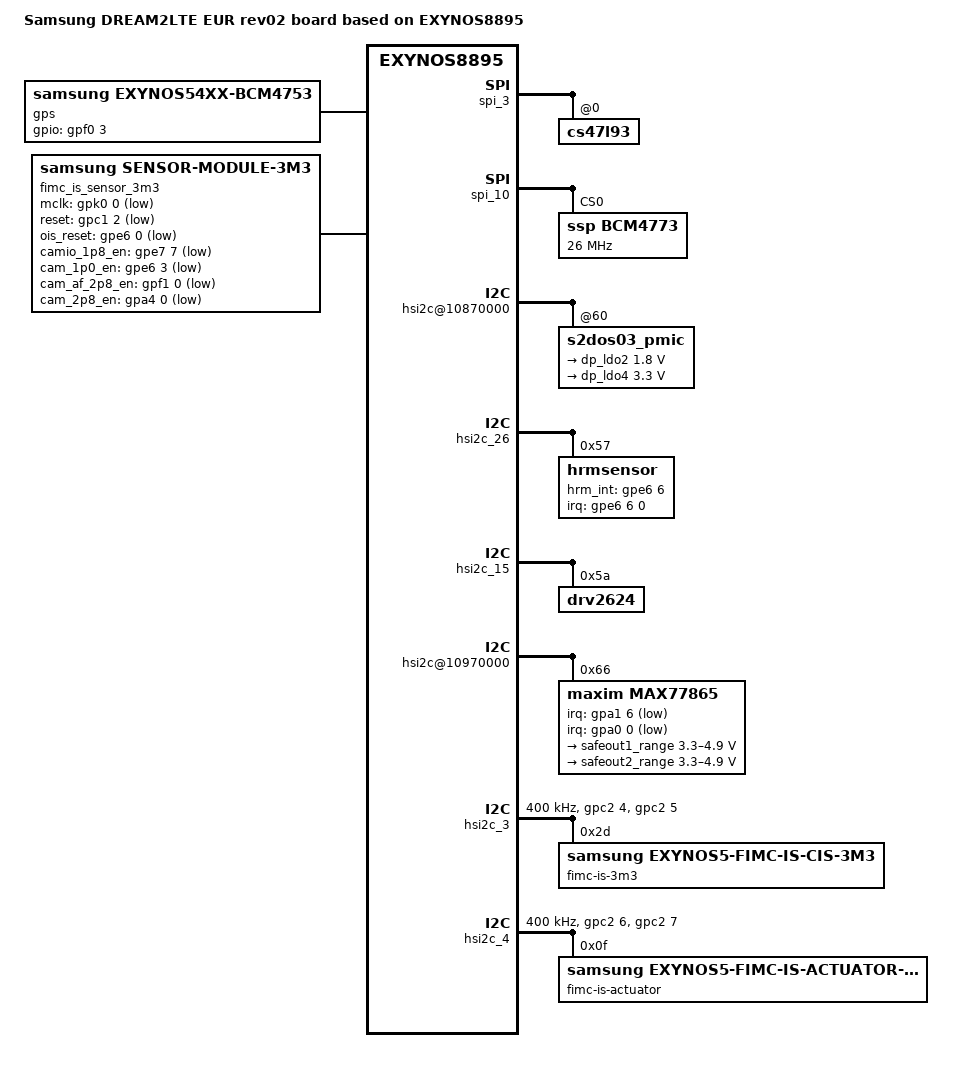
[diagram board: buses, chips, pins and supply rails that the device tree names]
/*
 * SAMSUNG EXYNOS8895 board device tree source
 *
 * Copyright (c) 2016 Samsung Electronics Co., Ltd.
 *		http://www.samsung.com
 *
 * This program is free software; you can redistribute it and/or modify
 * it under the terms of the GNU General Public License version 2 as
 * published by the Free Software Foundation.
*/

/dts-v1/;
#include "exynos8895-dream2lte_common.dtsi"
#include "battery_data_dream2lte_common.dtsi"
#include "exynos8895-dream2lte_motor_drv2624.dtsi"
#include "exynos8895-dream2lte_svcled.dtsi"
#include "ccic-s2mm005_00.dtsi"
#include "exynos8895-dreamlte_mst_00.dtsi"
#include "exynos8895-dream2lte_gpio_02.dtsi"

/ {
	model = "Samsung DREAM2LTE EUR rev02 board based on EXYNOS8895";
	model_info-chip = <8895>;
	model_info-platform = "android";
	model_info-subtype = "samsung";
	model_info-hw_rev = <5>;
	model_info-hw_rev_end = <5>;
	compatible = "samsung, DREAM2LTE EUR rev02", "samsung,EXYNOS8895";

	spi_3: spi@10460000 {
		status = "okay";
		cs47l93: cs47l93@0 {
			cirrus,dmic-ref = <1 2>;
			cirrus,inmode = <
				2 0 2 0 /* IN1 */
				2 2 0 0 /* IN2 */
			>;

			cirrus,gpio-defaults = <
				0xffffffff 0xffffffff /* GPIO1 */
				0xffffffff 0xffffffff /* GPIO2 */
				0x00002001 0x00009000 /* SPKCLK1 /   GPIO3 */
				0x00002001 0x00009000 /* SPKDAT /    GPIO4 */
				0x00002000 0x00006000 /* AIF1TXDAT / GPIO5 */
				0x00002000 0x00006000 /* AIF1BCLK /  GPIO6 */
				0x00002000 0x00006000 /* AIF1RXDAT / GPIO7 */
				0x00002000 0x00006000 /* AIF1LRCLK / GPIO8 */
				0x00002001 0x00009000 /* AIF2TXDAT / GPIO9 */
				0x00002001 0x00009000 /* AIF2BCLK /  GPIO10 */
				0x00002001 0x00009000 /* AIF2RXDAT / GPIO11 */
				0x00002000 0x00006000 /* AIF2LRCLK / GPIO12 */
				0x00002000 0x00006000 /* AIF3TXDAT / GPIO13 */
				0x00002000 0x00006000 /* AIF3BCLK /  GPIO14 */
				0x00002000 0x00006000 /* AIF3RXDAT / GPIO15 */
				0x00002000 0x00006000 /* AIF3LRCLK / GPIO16 */
			>;

			cirrus,accdet {
				acc@1 {
					cirrus,hpdet-ext-res = <3300>;
				};
			};
		};
	};
	
	spi_10: spi@108C0000{
		#address-cells = <1>;
		#size-cells = <0>;
	
		pinctrl-names = "default";
		pinctrl-0 = <&spi1_mosi_sck_ssn &spi1_miso>;

		num-cs = <1>;
		status = "okay";
/*
		dma-mode;
		dmas = <&pdma0 21 0
			&pdma0 20 0>;
*/
		BCM4773@0 {
			compatible = "ssp,BCM4773";
			reg = <0>;
			spi-max-frequency = <26000000>;
			spi-cpol;
			spi-cpha;
			pinctrl-names = "default";
			pinctrl-0 = <&ssp_host_req &ssp_mcu_req &ssp_mcu_resp &ssp_batch_wake_irq>;
		
			gpio-controller;
			#gpio-cells = <2>;
			ssp-host-req = <&gpa3 4 0x00>;
			ssp-mcu-req = <&gpe6 1 0x00>;
			ssp-mcu-resp = <&gpi1 5 0x00>;
			ssp-batch-wake-irq = <&gpa2 5 0x00>;
			ssp-acc-position = <5>;
			ssp-mag-position = <1>;
			ssp-sns-combination = <0>;
			ssp-ap-rev = <1>;
			ssp-mag-array = /bits/ 8 <253 90 57 192 88 65 2 134 202 56 62 202 185 40 254 156 2 108 98 193 184 4 28 181 12 82 172>;
			ssp-glass-type = <0>;
			ssp-mag-type = <1>;

			controller-data {
				cs-gpio = <&gpe2 6 0>;
				samsung,spi-feedback-delay = <0>;
			};
		};
	};

	sound {
		status = "okay";
		spkpdm-gpio;

		samsung,routing = "HEADSETMIC", "MICBIAS2A",
				 "IN1BL", "HEADSETMIC",
				 "DMIC1", "MICBIAS1A",
				 "IN1AL", "DMIC1",
				 "DMIC2", "MICBIAS1B",
				 "IN2AL", "DMIC2",
				 "VTS PAD DPDM", "DMIC1",
				 "RECEIVER", "HPOUT3L",
				 "RECEIVER", "HPOUT3R",
				 "RECEIVER", "HPOUT4L",
				 "RECEIVER", "HPOUT4R",
				 "HEADPHONE", "HPOUT2L",
				 "HEADPHONE", "HPOUT2R",
				 "BLUETOOTH SPK", "ABOX UAIF3 Playback",
				 "ABOX UAIF3 Capture", "BLUETOOTH MIC",
				 "VOUTPUT", "ABOX UAIF0 Playback",
				 "ABOX UAIF1 Capture", "VINPUT1",
				 "ABOX UAIF4 Capture", "VINPUT2",
				 "SPEAKER", "HiFi Playback",
				 "VOUTPUTCALL", "ABOX UAIF2 Playback",
				 "ABOX UAIF2 Capture", "VINPUTCALL",
				 "VTS Virtual Output", "VTS Virtual Output Mux";

		mixer-paths = "mixer_paths_r01.xml";
	};

	gps {
		compatible = "samsung,exynos54xx-bcm4753";

		pinctrl-names = "hub_en";
		pinctrl-0 = <&ssp_gps_pwr_en>;

		gpios = <&gpf0 3 0x0>;
		status = "okay";
	};
	
	dwmmc2@11500000 {
		card-detect-invert;
	};

	hsi2c@10870000 {
		status = "okay";
		s2dos03_pmic@60 {
			regulators {
				dp_ldo2: s2dos03-ldo2 {
					regulator-name = "HRM_1.8V_AP";
					regulator-min-microvolt = <1800000>;
					regulator-max-microvolt = <1800000>;
				};
				dp_ldo4: s2dos03-ldo4 {
					regulator-name = "HRM_3.3V_AP";
					regulator-min-microvolt = <3300000>;
					regulator-max-microvolt = <3300000>;
				};
			};
		};
	};

	speedy@15B50000{
		status = "okay";
		s2mps17mfd@00 {
			regulators {
				ldo34_reg: LDO34 {
					regulator-name = "tsp_io";
					regulator-min-microvolt = <1850000>;
					regulator-max-microvolt = <1850000>;
				};
				ldo35_reg: LDO35 {
					regulator-name = "tsp_avdd";
					regulator-min-microvolt = <3300000>;
					regulator-max-microvolt = <3300000>;
				};
			};
		};
	};

	hsi2c_26: hsi2c@10910000 {
		status = "okay";
		hrmsensor@57 {
			compatible = "hrmsensor";
			reg = <0x57>;
			interrupt-parent = <&gpe6>;
			interrupts = <6 0 0>;
			hrmsensor,hrm_int-gpio = <&gpe6 6 0>;
			pinctrl-names = "default", "sleep", "idle";
			pinctrl-0 = <&hrm_irq>;
			pinctrl-1 = <&hrm_irqsleep>;
			pinctrl-2 = <&hrm_irqidle>;
			hrmsensor,vdd_1p8 = "HRM_1.8V_AP";
			hrmsensor,led_3p3 = "HRM_3.3V_AP";
			hrmsensor,i2c_1p8 = "VDD_NFC_1P8";
		};
	};

	pinctrl@164B0000 {
		max77865_irq: max77865-irq {
			samsung,pins = "gpa1-6";
			samsung,pin-function = <0xf>;
			samsung,pin-pud = <0>; 
			samsung,pin-drv = <0>; 
		};

		muic_irq: muic-irq {
			samsung,pins = "gpa0-0";
			samsung,pin-pud = <0>; 
			samsung,pin-drv = <0>; 
		};
	};

	/* HSI2C_USI5_0 */
	hsi2c_15: hsi2c@10860000 {
		status = "okay";

		drv2624@5A {
			compatible = "drv2624";
			reg = <0x5A>;
			status = "okay";

			motor_mode = <&gpf1 6 0>;
			motor_rst_n = <&gpe7 4 0>;
			//pinctrl-0 = <&motor_mode &motor_rst_n>;
		};
	};

	hsi2c@10970000 {
		status = "okay";

		max77865@66 {
			compatible = "maxim,max77865";
			pinctrl-names = "default";
			pinctrl-0 = <&max77865_irq &muic_irq>;
			reg = <0x66>;
			max77865,irq-gpio = <&gpa1 6 1>;
			muic-universal,irq-gpio = <&gpa0 0 1>;
			muic-universal,chip_name = "max,max77865";
			max77865,wakeup;
			muic,undefined_range;

			regulators {
				ESAFEOUT1 {
					regulator-compatible = "safeout1";
					regulator-name = "safeout1_range";
					regulator-min-microvolt = <3300000>;
					regulator-max-microvolt = <4900000>;
					regulator-boot-on;
				};

				ESAFEOUT2 {
					regulator-compatible = "safeout2";
					regulator-name = "safeout2_range";
					regulator-min-microvolt = <3300000>;
					regulator-max-microvolt = <4900000>;
				};
			};
		};
	};

	pinctrl@164B0000 {
		dp_irq: dp_irq {
			samsung,pins = "gpa3-1";
			samsung,pin-function = <3>;
			samsung,pin-pud = <0>;
		};
	};

	displayport: displayport@0x11090000 {
		dp,aux_sw_oe = <&gpi1 3 0>;
		dp,usb_con_sel = <&gpi1 7 0>;
		dp,aux_vdd = "VDD_DP_3P3";
		dp,hpd_gpio_irq;

		pinctrl-names = "default";
		pinctrl-0 = <&dp_irq>;
	};
	
	hsi2c_3: hsi2c@109B0000 {
		 gpios = <&gpc2 4 0 &gpc2 5 0>;
		 status = "okay";
		 clock-frequency = <400000>;
		 samsung,reset-before-trans;

		 pinctrl-names = "default","on_i2c","off_i2c";
		 pinctrl-0 = <&hsi2c3_bus_in>;
		 pinctrl-1 = <&hsi2c3_bus>;
		 pinctrl-2 = <&hsi2c3_bus_in>;

		 fimc-is-3m3@2D {
			 compatible = "samsung,exynos5-fimc-is-cis-3m3";
			 reg = <0x2D>; /* 1 bit right shift */
			 id = <2>; /* matching sensor id */
			 setfile = "default";
		 };
	};

	hsi2c_4: hsi2c@109C0000 {
		gpios = <&gpc2 6 0 &gpc2 7 0>;
		status = "okay";
		clock-frequency = <400000>;
		samsung,reset-before-trans;

		pinctrl-names = "default","on_i2c","off_i2c";
		pinctrl-0 = <&hsi2c4_bus_in>;
		pinctrl-1 = <&hsi2c4_bus>;
		pinctrl-2 = <&hsi2c4_bus_in>;

		fimc-is-actuator@0F {
			compatible = "samsung,exynos5-fimc-is-actuator-ak7371";
			reg = <0x0F>;
			id = <2>; /* matching sensor id */
			place = <2>; /* 0: Back  1: Front  2: Tele*/
		};
	};

	fimc_is_sensor_imx333: fimc-is_sensor_imx333@34 {
		status = "okay";
		gpio_cam_af_2p8_en = <&gpf1 0 0x1>; /* tele AF for factory */
		gpio_camio_1p8_en = <&gpe7 7 0x1>; /* F-Rom IO LDO*/
		power_seq_id = <1>;  /* S6 Compatible (HWrev0~8) */

		ois {
			product_name = <1>; /* RUMBA-S4 */
			i2c_addr = <0x48>;
			i2c_ch = <1>; /* I2C 1 */
		};
	};

	fimc_is_sensor_2l2: fimc-is_sensor_2l2@5A {
		status = "okay";
		gpio_cam_af_2p8_en = <&gpf1 0 0x1>; /* tele AF for factory */
		gpio_camio_1p8_en = <&gpe7 7 0x1>; /* F-Rom IO LDO*/
		power_seq_id = <1>;  /* S6 Compatible (HWrev0~8) */

		ois {
			product_name = <1>; /* RUMBA-S4 */
			i2c_addr = <0x48>;
			i2c_ch = <1>; /* I2C 1 */
		};
	};

	fimc_is_sensor_3m3: fimc-is_sensor_3m3@5A {
		compatible = "samsung,sensor-module-3m3";

		pinctrl-names = "pin0", "pin1", "pin2", "default", "release";
		pinctrl-0 = <>;
		pinctrl-1 = <&fimc_is_mclk0_out &fimc_is_mclk2_out>;
		pinctrl-2 = <&fimc_is_mclk0_fn &fimc_is_mclk2_fn>;
		pinctrl-3 = <&sub_cam_en_out &sub_cam_1p0_out &sub_cam_io_out &sub_cam_af_out &sub_cam_rst_out>;
		pinctrl-4 = <>;

		position = <2>;	/* Rear:0. Front:1, Tele:2 */
		id = <2>; /* bns_id */
		mclk_ch = <0>;
		sensor_i2c_ch = <2>; /* I2C 2 */
		sensor_i2c_addr = <0x5A>;

		gpio_mclk = <&gpk0 0 0x1>; /* mclk shared with wide-cam */
		gpio_reset = <&gpc1 2 0x1>; /* sensor reset */
		gpio_ois_reset = <&gpe6 0 0x1>; /* ois reset */
		gpio_camio_1p8_en = <&gpe7 7 0x1>;
		gpio_cam_1p0_en = <&gpe6 3 0x1>;
		gpio_cam_af_2p8_en = <&gpf1 0 0x1>;
		gpio_cam_2p8_en = <&gpa4 0 0x1>;

		power_seq_id = <1>;  /* [0: < Rev0.2], [1: > Rev0.2] */

		status = "okay";

		af {
			product_name = <17>; /* ak7371 for TELE*/
			i2c_addr = <0x1E>;
			i2c_ch = <3>; /* I2C 3 */
		};

		flash {
			product_name = <100>; /* NOTHING */
		};

		preprocessor {
			product_name = <100>; /* NOTHING */
		};

		internal_vc {
			vc_list = <1 1>;  /* channel, data_type */
		};
	};

	fimc_is@13140000 {
		pinctrl-names = "default","release";
		pinctrl-0 = <&fimc_is_flash_is &fimc_is_mclk0_out &fimc_is_mclk1_out &fimc_is_mclk2_out &fimc_is_mclk3_out>;
		pinctrl-1 = <>;

		vender {
			rear_sensor_id = <112>; /* 2L1:29 IMX260:109 IMX333:112*/
			front_sensor_id = <111>; /* IMX320 : 111 3H1 : 31 */
			rear_second_sensor_id = <33>;
			secure_sensor_id = <254>; /* 5E6:254 */
			use_module_check;
			use_ois_hsi2c;
			use_ois;
			/*skip_cal_loading;*/
			check_sensor_vendor;
			f_rom_power = <1>; /* 0:Wide, 1:Tele */

			max_camera_num = <4>;
			camera_info0 {                          // 0 : rear
				isp = <0>;                      /* 0 : INT , 1 : EXT , 2 : SOC */
				cal_memory = <1>;               /* 0 : N , 1 : FROM , 2 : EEPROM , 3 : OTP  */
				read_version = <0>;             /* 0 : SYSFS , 1 : CAMON */
				core_voltage = <1>;             /* 0 : N , 1 : Y  */
				upgrade = <0>;          /* 0 : N , 1 : SYSFS , 2 : CAMON */
				fw_write = <0>;         /* 0 : N,  1 : OS, 2 : SD, 3 : ALL */
				fw_dump = <0>;          /* 0 : N , 1 : Y  */
				companion = <1>;                /* 0 : N , 1 : Y  */
				ois = <1>;                      /* 0 : N , 1 : Y  */
				valid = <1>;					/* 0 : INVALID , 1 : VALID   */
		        };
			camera_info1 {                          // 1 : front
				isp = <0>;                      /* 0 : INT , 1 : EXT , 2 : SOC */
				cal_memory = <2>;               /* 0 : N , 1 : FROM , 2 : EEPROM , 3 : OTP  */
				read_version = <0>;             /* 0 : SYSFS , 1 : CAMON */
				core_voltage = <0>;             /* 0 : N , 1 : Y  */
				upgrade = <0>;          /* 0 : N , 1 : SYSFS , 2 : CAMON */
				fw_write = <0>;         /* 0 : N,  1 : OS, 2 : SD, 3 : ALL */
				fw_dump = <0>;          /* 0 : N , 1 : Y  */
				companion = <1>;                /* 0 : N , 1 : Y  */
				ois = <0>;                      /* 0 : N , 1 : Y  */
				valid = <1>;					/* 0 : INVALID , 1 : VALID   */
		        };
			camera_info2 {                          // 2 : tele
				isp = <0>;                      /* 0 : INT , 1 : EXT , 2 : SOC */
				cal_memory = <1>;               /* 0 : N , 1 : FROM , 2 : EEPROM , 3 : OTP  */
				read_version = <0>;             /* 0 : SYSFS , 1 : CAMON */
				core_voltage = <0>;             /* 0 : N , 1 : Y  */
				upgrade = <0>;          /* 0 : N , 1 : SYSFS , 2 : CAMON */
				fw_write = <0>;         /* 0 : N,  1 : OS, 2 : SD, 3 : ALL */
				fw_dump = <0>;          /* 0 : N , 1 : Y  */
				companion = <0>;                /* 0 : N , 1 : Y  */
				ois = <0>;                      /* 0 : N , 1 : Y  */
				valid = <0>;					/* 0 : INVALID , 1 : VALID   */
		        };
			camera_info3 {				// 3 : iris
				isp = <2>;			/* 0 : INT , 1 : EXT , 2 : SOC */
				cal_memory = <0>;		/* 0 : N , 1 : FROM , 2 : EEPROM , 3 : OTP  */
				read_version = <1>;		/* 0 : SYSFS , 1 : CAMON */
				core_voltage = <0>;		/* 0 : N , 1 : Y  */
				upgrade = <0>;		/* 0 : N , 1 : SYSFS , 2 : CAMON */
				fw_write = <0>;		/* 0 : N,  1 : OS, 2 : SD, 3 : ALL */
				fw_dump = <0>;		/* 0 : N , 1 : Y  */
				companion = <0>;		/* 0 : N , 1 : Y  */
				ois = <0>;			/* 0 : N , 1 : Y  */
				valid = <1>;					/* 0 : INVALID , 1 : VALID   */
			};
		};
	};

	phy@10E00000 {
	    phy_revert;
	};
};
